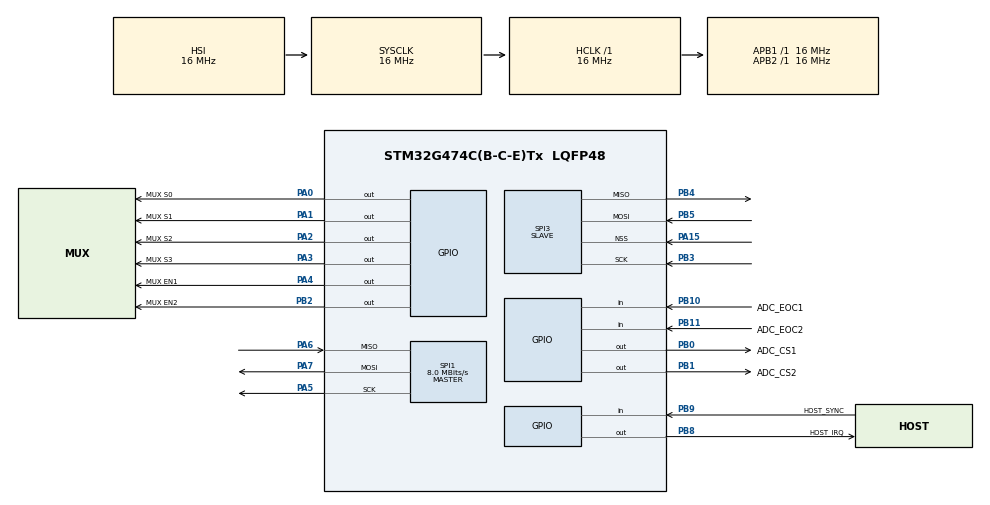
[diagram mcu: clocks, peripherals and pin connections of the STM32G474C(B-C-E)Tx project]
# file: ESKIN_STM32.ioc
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Mcu.Family=STM32G4
Mcu.Name=STM32G474C(B-C-E)Tx
Mcu.Package=LQFP48
NVIC.PriorityGroup=NVIC_PRIORITYGROUP_4
PA0.GPIO_Label=MUX S0
PA0.Signal=GPIO_Output
PA1.GPIO_Label=MUX S1
PA1.Signal=GPIO_Output
PA13.Mode=Serial_Wire
PA13.Signal=SYS_JTMS-SWDIO
PA14.Mode=Serial_Wire
PA14.Signal=SYS_JTCK-SWCLK
PA15.Mode=NSS_Signal_Hard_Input
PA15.Signal=SPI3_NSS
PA2.GPIO_Label=MUX S2
PA2.Signal=GPIO_Output
PA3.GPIO_Label=MUX S3
PA3.Signal=GPIO_Output
PA4.GPIO_Label=MUX EN1
PA4.GPIO_OutputState=GPIO_PIN_SET
PA4.Signal=GPIO_Output
PA5.Mode=Full_Duplex_Master
PA5.Signal=SPI1_SCK
PA6.Mode=Full_Duplex_Master
PA6.Signal=SPI1_MISO
PA7.Mode=Full_Duplex_Master
PA7.Signal=SPI1_MOSI
PB0.GPIO_Label=ADC_CS1
PB0.GPIO_OutputState=GPIO_PIN_SET
PB0.Signal=GPIO_Output
PB1.GPIO_Label=ADC_CS2
PB1.GPIO_OutputState=GPIO_PIN_SET
PB1.Signal=GPIO_Output
PB2.GPIO_Label=MUX EN2
PB2.GPIO_OutputState=GPIO_PIN_SET
PB2.Signal=GPIO_Output
PB10.GPIO_Label=ADC_EOC1
PB10.Signal=GPIO_Input
PB11.GPIO_Label=ADC_EOC2
PB11.Signal=GPIO_Input
PB3.Mode=Full_Duplex_Slave
PB3.Signal=SPI3_SCK
PB4.Mode=Full_Duplex_Slave
PB4.Signal=SPI3_MISO
PB5.Mode=Full_Duplex_Slave
PB5.Signal=SPI3_MOSI
PB8-BOOT0.GPIO_Label=HOST_IRQ
PB8-BOOT0.Signal=GPIO_Output
PB9.GPIO_Label=HOST_SYNC
PB9.Signal=GPIO_Input
ProjectManager.HeapSize=0x200
ProjectManager.StackSize=0x400
ProjectManager.TargetToolchain=CMake
RCC.AHBFreq_Value=16000000
RCC.APB1Freq_Value=16000000
RCC.APB1TimFreq_Value=16000000
RCC.APB2Freq_Value=16000000
RCC.APB2TimFreq_Value=16000000
RCC.CortexFreq_Value=16000000
RCC.EXTERNAL_CLOCK_VALUE=12288000
RCC.HCLKFreq_Value=16000000
RCC.HSE_VALUE=8000000
RCC.HSI48_VALUE=48000000
RCC.HSI_VALUE=16000000
RCC.LSE_VALUE=32768
RCC.SYSCLKFreq_VALUE=16000000
RCC.USBFreq_Value=64000000
RCC.VCOOutputFreq_Value=128000000
SPI1.CalculateBaudRate=8.0 MBits/s
SPI1.DataSize=SPI_DATASIZE_8BIT
SPI1.Direction=SPI_DIRECTION_2LINES
SPI1.Mode=SPI_MODE_MASTER
SPI1.VirtualType=VM_MASTER
SPI3.DataSize=SPI_DATASIZE_8BIT
SPI3.Direction=SPI_DIRECTION_2LINES
SPI3.Mode=SPI_MODE_SLAVE
SPI3.NSS=SPI_NSS_HARD_INPUT
SPI3.VirtualNSS=VM_NSSHARD
SPI3.VirtualType=VM_SLAVE
VP_SYS_VS_DBSignals.Mode=DisableDeadBatterySignals
board=custom

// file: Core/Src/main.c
/* USER CODE BEGIN Header */
/**
  ******************************************************************************
  * @file           : main.c
  * @brief          : Main program body
  ******************************************************************************
  * @attention
  *
  * Copyright (c) 2026 STMicroelectronics.
  * All rights reserved.
  *
  * This software is licensed under terms that can be found in the LICENSE file
  * in the root directory of this software component.
  * If no LICENSE file comes with this software, it is provided AS-IS.
  *
  ******************************************************************************
  */
/* USER CODE END Header */
#include "main.h"

/* USER CODE BEGIN Includes */

/* Basic blocking acquisition and host-transfer implementation. */

/* USER CODE END Includes */

SPI_HandleTypeDef hspi1;
SPI_HandleTypeDef hspi3;

/* USER CODE BEGIN PV */

/* FSR2 frame: MUX2 selections x ADC2 channels, 12-bit samples in 16 bits. */
#define FSR_ROWS             16U
#define FSR_COLUMNS          16U
#define MAX11633_EOC_TIMEOUT 5U
#define MAX11633_RESET_ALL   0x10U
#define MAX11633_SETUP       0x64U
#define MAX11633_SCAN_0_TO_15 0xF8U
#define HOST_FRAME_MAGIC     0xA5U
#define HOST_FRAME_BYTES     (1U + 2U + (FSR_ROWS * FSR_COLUMNS * 2U))
#define HOST_SPI_TIMEOUT     1000U

typedef enum
{
  FSR_STAGE_BOOT = 0U,
  FSR_STAGE_ADC_RESET,
  FSR_STAGE_ADC_SETUP,
  FSR_STAGE_MUX_SETTLE,
  FSR_STAGE_ADC_COMMAND,
  FSR_STAGE_ADC_EOC_WAIT,
  FSR_STAGE_ADC_READ,
  FSR_STAGE_HOST_TRANSFER,
  FSR_STAGE_IDLE
} FSR_DiagnosticStage;

static uint16_t fsr_frame[FSR_ROWS][FSR_COLUMNS];
static uint8_t host_tx_frame[HOST_FRAME_BYTES];
static uint8_t host_rx_dummy[HOST_FRAME_BYTES];
static uint16_t host_sequence;
static volatile HAL_StatusTypeDef fsr_scan_status = HAL_OK;
static volatile FSR_DiagnosticStage fsr_stage = FSR_STAGE_BOOT;
static volatile FSR_DiagnosticStage fsr_last_error_stage = FSR_STAGE_BOOT;
static volatile uint8_t fsr_active_row;
static volatile uint32_t fsr_completed_scans;
static volatile uint32_t fsr_completed_frames;
static volatile uint32_t fsr_error_count;
static volatile uint32_t host_spi_error_code;
static volatile uint32_t host_spi_sr;
static volatile uint16_t host_spi_tx_remaining;
static volatile uint16_t host_spi_rx_remaining;

/* USER CODE END PV */

void SystemClock_Config(void);
static void MX_GPIO_Init(void);
static void MX_SPI1_Init(void);
static void MX_SPI3_Init(void);
/* USER CODE BEGIN PFP */

static void MUX2_SelectRow(uint8_t row);
static HAL_StatusTypeDef MAX11633_ADC2_Init(void);
static HAL_StatusTypeDef MAX11633_ADC2_Read16(uint16_t *samples);
static HAL_StatusTypeDef FSR_ScanFrame(uint16_t frame[FSR_ROWS][FSR_COLUMNS]);
static HAL_StatusTypeDef HOST_SendFrame(const uint16_t frame[FSR_ROWS][FSR_COLUMNS]);
static void EnsureMainFlashBoot(void);

/* USER CODE END PFP */

/* USER CODE BEGIN 0 */

static void EnsureMainFlashBoot(void)
{
  FLASH_OBProgramInitTypeDef option_bytes = {0};

  HAL_FLASHEx_OBGetConfig(&option_bytes);
  if (((option_bytes.USERConfig & FLASH_OPTR_nSWBOOT0) == 0U) &&
      ((option_bytes.USERConfig & FLASH_OPTR_nBOOT0) != 0U))
  {
    return;
  }

  /*
   * PB8 is shared by HOST_IRQ and the physical BOOT0 input. Select the nBOOT0
   * option bit instead of the pin, and set nBOOT0=1 so every reset starts from
   * main Flash. No protection, reset-mode, watchdog, or bank option is changed.
   */
  if (HAL_FLASH_Unlock() != HAL_OK)
  {
    Error_Handler();
  }
  if (HAL_FLASH_OB_Unlock() != HAL_OK)
  {
    (void)HAL_FLASH_Lock();
    Error_Handler();
  }

  option_bytes.OptionType = OPTIONBYTE_USER;
  option_bytes.USERType = OB_USER_nSWBOOT0 | OB_USER_nBOOT0;
  option_bytes.USERConfig = OB_BOOT0_FROM_OB | OB_nBOOT0_SET;

  if (HAL_FLASHEx_OBProgram(&option_bytes) != HAL_OK)
  {
    (void)HAL_FLASH_OB_Lock();
    (void)HAL_FLASH_Lock();
    Error_Handler();
  }

  /* Successful launch resets the MCU and reloads the new option bytes. */
  if (HAL_FLASH_OB_Launch() != HAL_OK)
  {
    (void)HAL_FLASH_OB_Lock();
    (void)HAL_FLASH_Lock();
    Error_Handler();
  }
}

/* USER CODE END 0 */

int main(void)
{

  /* MCU Configuration--------------------------------------------------------*/

  /* Reset of all peripherals, Initializes the Flash interface and the Systick. */
  HAL_Init();

  /* Configure the system clock */
  SystemClock_Config();

  /* USER CODE BEGIN SysInit */

  EnsureMainFlashBoot();

  /* USER CODE END SysInit */

  /* Initialize all configured peripherals */
  MX_GPIO_Init();
  MX_SPI1_Init();
  MX_SPI3_Init();
  /* USER CODE BEGIN 2 */

  /* Isolate FSR1 and leave FSR2 disabled until each settled acquisition. */
  HAL_GPIO_WritePin(GPIOA, MUX_EN1_Pin, GPIO_PIN_SET);
  HAL_GPIO_WritePin(GPIOB, ADC_CS1_Pin|MUX_EN2_Pin|ADC_CS2_Pin, GPIO_PIN_SET);
  fsr_scan_status = MAX11633_ADC2_Init();

  /* USER CODE END 2 */

  /* Infinite loop */
  while (1)
  {

    /* USER CODE BEGIN 3 */
    if (fsr_scan_status == HAL_OK)
    {
      fsr_scan_status = FSR_ScanFrame(fsr_frame);
      if (fsr_scan_status == HAL_OK)
      {
        ++fsr_completed_scans;
        fsr_scan_status = HOST_SendFrame(fsr_frame);
        if (fsr_scan_status == HAL_OK)
        {
          ++fsr_completed_frames;
          fsr_stage = FSR_STAGE_IDLE;
        }
      }
    }
    else
    {
      /* Keep retrying after a missing ADC or host instead of stopping forever. */
      fsr_last_error_stage = fsr_stage;
      ++fsr_error_count;
      HAL_GPIO_WritePin(GPIOA, MUX_EN1_Pin, GPIO_PIN_SET);
      HAL_GPIO_WritePin(GPIOB, MUX_EN2_Pin|ADC_CS1_Pin|ADC_CS2_Pin,
                        GPIO_PIN_SET);
      HAL_GPIO_WritePin(GPIOB, HOST_IRQ_Pin, GPIO_PIN_RESET);
      (void)HAL_SPI_Abort(&hspi1);
      (void)HAL_SPI_Abort(&hspi3);
      /*
       * A partial slave transaction can leave SPI3 misaligned even after an
       * abort. Reinitialise it so the following frame starts from byte zero.
       */
      (void)HAL_SPI_DeInit(&hspi3);
      MX_SPI3_Init();
      HAL_Delay(10U);
      fsr_scan_status = MAX11633_ADC2_Init();
    }
  }
  /* USER CODE END 3 */
}

void SystemClock_Config(void)
{
  RCC_OscInitTypeDef RCC_OscInitStruct = {0};
  RCC_ClkInitTypeDef RCC_ClkInitStruct = {0};

  /** Configure the main internal regulator output voltage
  */
  HAL_PWREx_ControlVoltageScaling(PWR_REGULATOR_VOLTAGE_SCALE1);

  /** Initializes the RCC Oscillators according to the specified parameters
  * in the RCC_OscInitTypeDef structure.
  */
  RCC_OscInitStruct.OscillatorType = RCC_OSCILLATORTYPE_HSI;
  RCC_OscInitStruct.HSIState = RCC_HSI_ON;
  RCC_OscInitStruct.HSICalibrationValue = RCC_HSICALIBRATION_DEFAULT;
  RCC_OscInitStruct.PLL.PLLState = RCC_PLL_NONE;
  if (HAL_RCC_OscConfig(&RCC_OscInitStruct) != HAL_OK)
  {
    Error_Handler();
  }

  /** Initializes the CPU, AHB and APB buses clocks
  */
  RCC_ClkInitStruct.ClockType = RCC_CLOCKTYPE_HCLK|RCC_CLOCKTYPE_SYSCLK
                              |RCC_CLOCKTYPE_PCLK1|RCC_CLOCKTYPE_PCLK2;
  RCC_ClkInitStruct.SYSCLKSource = RCC_SYSCLKSOURCE_HSI;
  RCC_ClkInitStruct.AHBCLKDivider = RCC_SYSCLK_DIV1;
  RCC_ClkInitStruct.APB1CLKDivider = RCC_HCLK_DIV1;
  RCC_ClkInitStruct.APB2CLKDivider = RCC_HCLK_DIV1;

  if (HAL_RCC_ClockConfig(&RCC_ClkInitStruct, FLASH_LATENCY_0) != HAL_OK)
  {
    Error_Handler();
  }
}

static void MX_SPI1_Init(void)
{

  /* SPI1 parameter configuration*/
  hspi1.Instance = SPI1;
  hspi1.Init.Mode = SPI_MODE_MASTER;
  hspi1.Init.Direction = SPI_DIRECTION_2LINES;
  hspi1.Init.DataSize = SPI_DATASIZE_8BIT;
  hspi1.Init.CLKPolarity = SPI_POLARITY_LOW;
  hspi1.Init.CLKPhase = SPI_PHASE_1EDGE;
  hspi1.Init.NSS = SPI_NSS_SOFT;
  hspi1.Init.BaudRatePrescaler = SPI_BAUDRATEPRESCALER_2;
  hspi1.Init.FirstBit = SPI_FIRSTBIT_MSB;
  hspi1.Init.TIMode = SPI_TIMODE_DISABLE;
  hspi1.Init.CRCCalculation = SPI_CRCCALCULATION_DISABLE;
  hspi1.Init.CRCPolynomial = 7;
  hspi1.Init.CRCLength = SPI_CRC_LENGTH_DATASIZE;
  hspi1.Init.NSSPMode = SPI_NSS_PULSE_ENABLE;
  if (HAL_SPI_Init(&hspi1) != HAL_OK)
  {
    Error_Handler();
  }

}

static void MX_SPI3_Init(void)
{

  /* SPI3 parameter configuration*/
  hspi3.Instance = SPI3;
  hspi3.Init.Mode = SPI_MODE_SLAVE;
  hspi3.Init.Direction = SPI_DIRECTION_2LINES;
  hspi3.Init.DataSize = SPI_DATASIZE_8BIT;
  hspi3.Init.CLKPolarity = SPI_POLARITY_LOW;
  hspi3.Init.CLKPhase = SPI_PHASE_1EDGE;
  hspi3.Init.NSS = SPI_NSS_HARD_INPUT;
  hspi3.Init.FirstBit = SPI_FIRSTBIT_MSB;
  hspi3.Init.TIMode = SPI_TIMODE_DISABLE;
  hspi3.Init.CRCCalculation = SPI_CRCCALCULATION_DISABLE;
  hspi3.Init.CRCPolynomial = 7;
  hspi3.Init.CRCLength = SPI_CRC_LENGTH_DATASIZE;
  hspi3.Init.NSSPMode = SPI_NSS_PULSE_DISABLE;
  if (HAL_SPI_Init(&hspi3) != HAL_OK)
  {
    Error_Handler();
  }

}

static void MX_GPIO_Init(void)
{
  GPIO_InitTypeDef GPIO_InitStruct = {0};

  /* GPIO Ports Clock Enable */
  __HAL_RCC_GPIOA_CLK_ENABLE();
  __HAL_RCC_GPIOB_CLK_ENABLE();

  /*Configure GPIO pin Output Level */
  HAL_GPIO_WritePin(GPIOA, MUX_S0_Pin|MUX_S1_Pin|MUX_S2_Pin|MUX_S3_Pin,
                    GPIO_PIN_RESET);
  HAL_GPIO_WritePin(GPIOA, MUX_EN1_Pin, GPIO_PIN_SET);

  /*Configure GPIO pin Output Level */
  HAL_GPIO_WritePin(GPIOB, ADC_CS1_Pin|ADC_CS2_Pin|MUX_EN2_Pin, GPIO_PIN_SET);
  HAL_GPIO_WritePin(GPIOB, HOST_IRQ_Pin, GPIO_PIN_RESET);

  /*Configure GPIO pins : MUX_S0_Pin MUX_S1_Pin MUX_S2_Pin MUX_S3_Pin
                           MUX_EN1_Pin */
  GPIO_InitStruct.Pin = MUX_S0_Pin|MUX_S1_Pin|MUX_S2_Pin|MUX_S3_Pin
                          |MUX_EN1_Pin;
  GPIO_InitStruct.Mode = GPIO_MODE_OUTPUT_PP;
  GPIO_InitStruct.Pull = GPIO_NOPULL;
  GPIO_InitStruct.Speed = GPIO_SPEED_FREQ_LOW;
  HAL_GPIO_Init(GPIOA, &GPIO_InitStruct);

  /*Configure GPIO pins : ADC_CS1_Pin ADC_CS2_Pin MUX_EN2_Pin HOST_IRQ_Pin */
  GPIO_InitStruct.Pin = ADC_CS1_Pin|ADC_CS2_Pin|MUX_EN2_Pin|HOST_IRQ_Pin;
  GPIO_InitStruct.Mode = GPIO_MODE_OUTPUT_PP;
  GPIO_InitStruct.Pull = GPIO_NOPULL;
  GPIO_InitStruct.Speed = GPIO_SPEED_FREQ_LOW;
  HAL_GPIO_Init(GPIOB, &GPIO_InitStruct);

  /*Configure GPIO pins : ADC_EOC1_Pin ADC_EOC2_Pin HOST_SYNC_Pin */
  GPIO_InitStruct.Pin = ADC_EOC1_Pin|ADC_EOC2_Pin|HOST_SYNC_Pin;
  GPIO_InitStruct.Mode = GPIO_MODE_INPUT;
  GPIO_InitStruct.Pull = GPIO_NOPULL;
  HAL_GPIO_Init(GPIOB, &GPIO_InitStruct);

}

/* USER CODE BEGIN 4 */

static void MUX2_SelectRow(uint8_t row)
{
  HAL_GPIO_WritePin(GPIOA, MUX_S0_Pin, (row & 0x01U) ? GPIO_PIN_SET : GPIO_PIN_RESET);
  HAL_GPIO_WritePin(GPIOA, MUX_S1_Pin, (row & 0x02U) ? GPIO_PIN_SET : GPIO_PIN_RESET);
  HAL_GPIO_WritePin(GPIOA, MUX_S2_Pin, (row & 0x04U) ? GPIO_PIN_SET : GPIO_PIN_RESET);
  HAL_GPIO_WritePin(GPIOA, MUX_S3_Pin, (row & 0x08U) ? GPIO_PIN_SET : GPIO_PIN_RESET);
}

static HAL_StatusTypeDef MAX11633_ADC2_Init(void)
{
  const uint8_t reset_command = MAX11633_RESET_ALL;
  const uint8_t setup_command = MAX11633_SETUP;
  HAL_StatusTypeDef status;

  /*
   * Reset all ADC registers first so a previous interrupted transaction or
   * firmware image cannot leave a stale scan/clock configuration behind.
   */
  fsr_stage = FSR_STAGE_ADC_RESET;
  HAL_GPIO_WritePin(GPIOB, ADC_CS2_Pin, GPIO_PIN_RESET);
  status = HAL_SPI_Transmit(&hspi1, (uint8_t *)&reset_command, 1U,
                            MAX11633_EOC_TIMEOUT);
  HAL_GPIO_WritePin(GPIOB, ADC_CS2_Pin, GPIO_PIN_SET);
  if (status != HAL_OK)
  {
    return status;
  }
  HAL_Delay(1U);

  /*
   * 0x64 selects internal clock mode 10 and the external reference input.
   * On mainboard revision 2.2, MAX11633 REF and VDD are tied to +3.3 V.
   */
  fsr_stage = FSR_STAGE_ADC_SETUP;
  HAL_GPIO_WritePin(GPIOB, ADC_CS2_Pin, GPIO_PIN_RESET);
  status = HAL_SPI_Transmit(&hspi1, (uint8_t *)&setup_command, 1U,
                            MAX11633_EOC_TIMEOUT);
  HAL_GPIO_WritePin(GPIOB, ADC_CS2_Pin, GPIO_PIN_SET);
  if (status == HAL_OK)
  {
    /* Allow the external reference path and analog front end to settle. */
    HAL_Delay(1U);
    fsr_stage = FSR_STAGE_IDLE;
  }
  return status;
}

static HAL_StatusTypeDef MAX11633_ADC2_Read16(uint16_t *samples)
{
  uint8_t conversion_command = MAX11633_SCAN_0_TO_15;
  uint8_t rx[FSR_COLUMNS * 2U] = {0};
  HAL_StatusTypeDef status;
  uint32_t start;

  /* 0xF8 requests one conversion each from AIN0 through AIN15. */
  fsr_stage = FSR_STAGE_ADC_COMMAND;
  HAL_GPIO_WritePin(GPIOB, ADC_CS2_Pin, GPIO_PIN_RESET);
  status = HAL_SPI_Transmit(&hspi1, &conversion_command, 1U,
                            MAX11633_EOC_TIMEOUT);
  HAL_GPIO_WritePin(GPIOB, ADC_CS2_Pin, GPIO_PIN_SET);
  if (status != HAL_OK)
  {
    return status;
  }

  /* EOC is active low after the requested scan is complete. */
  fsr_stage = FSR_STAGE_ADC_EOC_WAIT;
  start = HAL_GetTick();
  while (HAL_GPIO_ReadPin(GPIOB, ADC_EOC2_Pin) == GPIO_PIN_SET)
  {
    if ((HAL_GetTick() - start) >= MAX11633_EOC_TIMEOUT)
    {
      return HAL_TIMEOUT;
    }
  }

  fsr_stage = FSR_STAGE_ADC_READ;
  HAL_GPIO_WritePin(GPIOB, ADC_CS2_Pin, GPIO_PIN_RESET);
  status = HAL_SPI_Receive(&hspi1, rx, sizeof(rx), MAX11633_EOC_TIMEOUT);
  HAL_GPIO_WritePin(GPIOB, ADC_CS2_Pin, GPIO_PIN_SET);
  if (status != HAL_OK)
  {
    return status;
  }

  for (uint32_t column = 0U; column < FSR_COLUMNS; ++column)
  {
    /* MAX11633 returns 12-bit binary results with four leading zero bits. */
    samples[column] = (uint16_t)(((uint16_t)rx[2U * column] << 8U) |
                                 rx[2U * column + 1U]);
    samples[column] &= 0x0FFFU;
  }
  return HAL_OK;
}

static HAL_StatusTypeDef FSR_ScanFrame(uint16_t frame[FSR_ROWS][FSR_COLUMNS])
{
  HAL_StatusTypeDef status;
  uint16_t adc2_samples[FSR_COLUMNS];

  for (uint8_t mux_index = 0U; mux_index < FSR_ROWS; ++mux_index)
  {
    const uint8_t mux2_channel = (uint8_t)(FSR_ROWS - 1U - mux_index);

    fsr_active_row = mux_index;
    /*
     * FSR2 is physically reversed relative to FSR1. Select MUX2 in reverse
     * order so the transmitted frame retains the established logical R/C map.
     */
    MUX2_SelectRow(mux2_channel);
    HAL_GPIO_WritePin(GPIOB, MUX_EN2_Pin, GPIO_PIN_RESET);
    fsr_stage = FSR_STAGE_MUX_SETTLE;
    HAL_Delay(1U); /* Settle after the active-low MUX has connected the row. */

    status = MAX11633_ADC2_Read16(adc2_samples);
    HAL_GPIO_WritePin(GPIOB, MUX_EN2_Pin, GPIO_PIN_SET);
    if (status != HAL_OK)
    {
      return status;
    }

    /*
     * FSR2 exchanges the physical row/column axes. ADC2 channel order is kept
     * direct on frame axis 0 to correct the physical left/right direction;
     * MUX2 remains reversed on frame axis 1. Coordinates and GUI geometry are
     * unchanged: frame[physical column][physical row].
     */
    for (uint8_t adc_index = 0U; adc_index < FSR_COLUMNS; ++adc_index)
    {
      frame[adc_index][mux_index] = adc2_samples[adc_index];
    }
  }
  return HAL_OK;
}

static HAL_StatusTypeDef HOST_SendFrame(const uint16_t frame[FSR_ROWS][FSR_COLUMNS])
{
  uint32_t offset = 0U;
  HAL_StatusTypeDef status;

  host_tx_frame[offset++] = HOST_FRAME_MAGIC;
  host_tx_frame[offset++] = (uint8_t)(host_sequence & 0xFFU);
  host_tx_frame[offset++] = (uint8_t)(host_sequence >> 8U);
  ++host_sequence;

  for (uint32_t row = 0U; row < FSR_ROWS; ++row)
  {
    for (uint32_t column = 0U; column < FSR_COLUMNS; ++column)
    {
      const uint16_t sample = frame[row][column] & 0x0FFFU;
      host_tx_frame[offset++] = (uint8_t)(sample & 0xFFU);
      host_tx_frame[offset++] = (uint8_t)(sample >> 8U);
    }
  }

  /*
   * SPI3 is configured as a two-line slave, so every MISO byte transmitted also
   * receives a Teensy dummy byte on MOSI. Drain those bytes explicitly. Using
   * HAL_SPI_Transmit() here can leave RX FIFO data pending; the STM32G4 HAL then
   * waits for FRLVL_EMPTY until HOST_SPI_TIMEOUT even though Teensy already
   * received a valid frame.
   */
  fsr_stage = FSR_STAGE_HOST_TRANSFER;
  HAL_GPIO_WritePin(GPIOB, HOST_IRQ_Pin, GPIO_PIN_SET);
  status = HAL_SPI_TransmitReceive(&hspi3, host_tx_frame, host_rx_dummy,
                                   HOST_FRAME_BYTES, HOST_SPI_TIMEOUT);
  host_spi_error_code = hspi3.ErrorCode;
  host_spi_sr = hspi3.Instance->SR;
  host_spi_tx_remaining = hspi3.TxXferCount;
  host_spi_rx_remaining = hspi3.RxXferCount;
  HAL_GPIO_WritePin(GPIOB, HOST_IRQ_Pin, GPIO_PIN_RESET);
  return status;
}

/* USER CODE END 4 */

void Error_Handler(void)
{
  __disable_irq();
  while (1)
  {
  }
}
